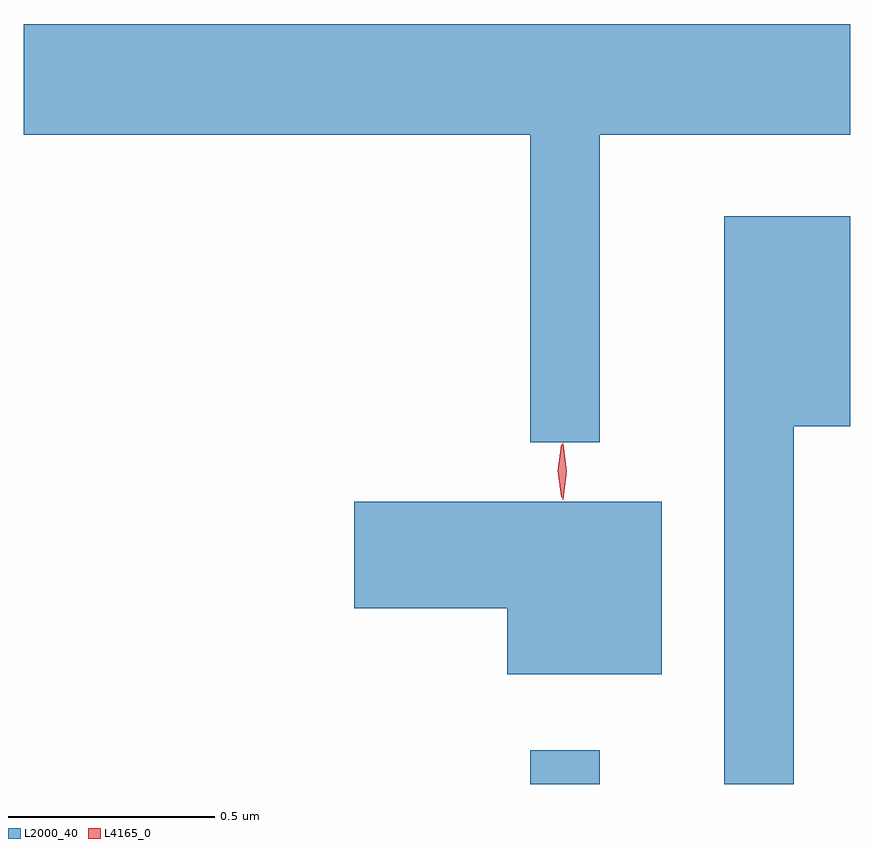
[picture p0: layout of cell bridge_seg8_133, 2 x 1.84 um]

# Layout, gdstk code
import gdstk
lib = gdstk.Library(unit=1e-6, precision=1e-09)
def R(c, l, rs):  # rectangles x0, y0, x1, y1
    for r in rs: c.add(gdstk.rectangle(r[:2], r[2:], *l))
def P(c, l, *ps):  # polygons
    for p in ps: c.add(gdstk.Polygon(p, *l))
L2000_40 = (2000, 40)
L4165_0 = (4165, 0)

bridge_seg8_133 = lib.new_cell('bridge_seg8_133')
R(bridge_seg8_133, L2000_40, [(1723.101,1845.946,1723.269,1846.028)])
P(bridge_seg8_133, L2000_40, [(1723.269,1847.516),(1723.876,1847.516),(1723.876,1847.784),(1721.876,1847.784),(1721.876,1847.516),(1723.101,1847.516),(1723.101,1846.773),(1723.269,1846.773)],
  [(1723.739,1846.811),(1723.876,1846.811),(1723.876,1847.319),(1723.571,1847.319),(1723.571,1845.946),(1723.739,1845.946)],
  [(1723.419,1846.629),(1722.676,1846.629),(1722.676,1846.371),(1723.046,1846.371),(1723.046,1846.211),(1723.419,1846.211)])
P(bridge_seg8_133, L4165_0, [(1723.18,1846.634),(1723.18,1846.634),(1723.17,1846.702),(1723.18,1846.77),(1723.18,1846.77),(1723.181,1846.77),(1723.19,1846.702),(1723.181,1846.634)],
  [(1723.178,1846.64),(1723.177,1846.641),(1723.168,1846.703),(1723.177,1846.766),(1723.178,1846.767),(1723.178,1846.766),(1723.188,1846.703),(1723.178,1846.641)])

lib.write_gds('bridge_seg8_133.gds')
